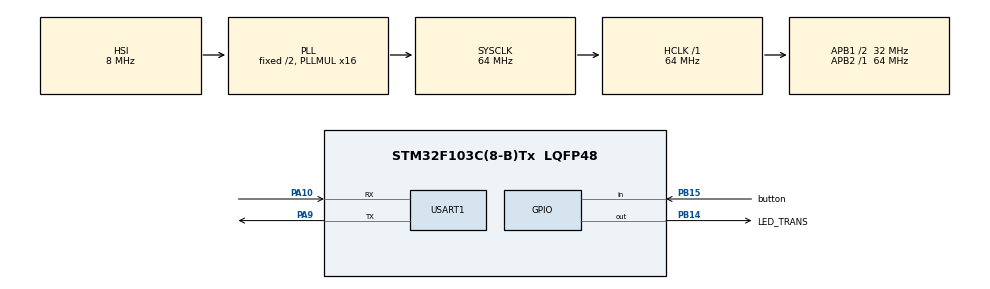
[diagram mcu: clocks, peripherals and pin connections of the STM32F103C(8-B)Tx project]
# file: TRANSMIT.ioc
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Mcu.Family=STM32F1
Mcu.Name=STM32F103C(8-B)Tx
Mcu.Package=LQFP48
NVIC.PriorityGroup=NVIC_PRIORITYGROUP_4
NVIC.USART1_IRQn=true\:0\:0\:false\:false\:true\:true
PA10.Mode=Asynchronous
PA10.Signal=USART1_RX
PA13.Mode=Serial_Wire
PA13.Signal=SYS_JTMS-SWDIO
PA14.Mode=Serial_Wire
PA14.Signal=SYS_JTCK-SWCLK
PA9.Mode=Asynchronous
PA9.Signal=USART1_TX
PB14.GPIO_Label=LED_TRANS
PB14.Signal=GPIO_Output
PB15.GPIO_Label=button
PB15.GPIO_PuPd=GPIO_PULLUP
PB15.Signal=GPIO_Input
ProjectManager.HeapSize=0x200
ProjectManager.StackSize=0x400
ProjectManager.TargetToolchain=MDK-ARM V5
RCC.AHBFreq_Value=64000000
RCC.APB1CLKDivider=RCC_HCLK_DIV2
RCC.APB1Freq_Value=32000000
RCC.APB1TimFreq_Value=64000000
RCC.APB2Freq_Value=64000000
RCC.APB2TimFreq_Value=64000000
RCC.HCLKFreq_Value=64000000
RCC.PLLMUL=RCC_PLL_MUL16
RCC.SYSCLKFreq_VALUE=64000000
RCC.SYSCLKSource=RCC_SYSCLKSOURCE_PLLCLK
RCC.USBFreq_Value=64000000
USART1.VirtualMode=VM_ASYNC
board=custom

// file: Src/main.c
/**
	******************************************************************************
	* @file           : main.c
	* @brief          : Main program body
	******************************************************************************
	** This notice applies to any and all portions of this file
	* that are not between comment pairs USER CODE BEGIN and
	* USER CODE END. Other portions of this file, whether
	* inserted by the user or by software development tools
	* are owned by their respective copyright owners.
	*
	* COPYRIGHT(c) 2018 STMicroelectronics
	*
	* Redistribution and use in source and binary forms, with or without modification,
	* are permitted provided that the following conditions are met:
	*   1. Redistributions of source code must retain the above copyright notice,
	*      this list of conditions and the following disclaimer.
	*   2. Redistributions in binary form must reproduce the above copyright notice,
	*      this list of conditions and the following disclaimer in the documentation
	*      and/or other materials provided with the distribution.
	*   3. Neither the name of STMicroelectronics nor the names of its contributors
	*      may be used to endorse or promote products derived from this software
	*      without specific prior written permission.
	*
	* THIS SOFTWARE IS PROVIDED BY THE COPYRIGHT HOLDERS AND CONTRIBUTORS "AS IS"
	* AND ANY EXPRESS OR IMPLIED WARRANTIES, INCLUDING, BUT NOT LIMITED TO, THE
	* IMPLIED WARRANTIES OF MERCHANTABILITY AND FITNESS FOR A PARTICULAR PURPOSE ARE
	* DISCLAIMED. IN NO EVENT SHALL THE COPYRIGHT HOLDER OR CONTRIBUTORS BE LIABLE
	* FOR ANY DIRECT, INDIRECT, INCIDENTAL, SPECIAL, EXEMPLARY, OR CONSEQUENTIAL
	* DAMAGES (INCLUDING, BUT NOT LIMITED TO, PROCUREMENT OF SUBSTITUTE GOODS OR
	* SERVICES; LOSS OF USE, DATA, OR PROFITS; OR BUSINESS INTERRUPTION) HOWEVER
	* CAUSED AND ON ANY THEORY OF LIABILITY, WHETHER IN CONTRACT, STRICT LIABILITY,
	* OR TORT (INCLUDING NEGLIGENCE OR OTHERWISE) ARISING IN ANY WAY OUT OF THE USE
	* OF THIS SOFTWARE, EVEN IF ADVISED OF THE POSSIBILITY OF SUCH DAMAGE.
	*
	******************************************************************************
	*/
#include "main.h"
#include "stm32f1xx_hal.h"

/* USER CODE BEGIN Includes */
#include "CTR_nrf24l01.h"
#include <stdio.h>
#include <string.h>
/* USER CODE END Includes */

UART_HandleTypeDef huart1;

/* USER CODE BEGIN PV */
/* Private variables ---------------------------------------------------------*/

/* USER CODE END PV */

void SystemClock_Config(void);
static void MX_GPIO_Init(void);
static void MX_USART1_UART_Init(void);

/* USER CODE BEGIN PFP */
/* Private function prototypes -----------------------------------------------*/

/* USER CODE END PFP */

/* USER CODE BEGIN 0 */
//uint8_t CTR_SENDBUFF[32];
uint8_t chuoi[32];

uint8_t dang_truyen[32]="dang truyen\r\n";
uint8_t dang_nhan[32]="dang nhan\r\n";
uint8_t loi[32]="khong thanh cong\r\n";
uint8_t chuoi_loi[32]="chuoi loi\r\n";
uint8_t ket_thuc[32]="KET THUC\r\n";

char ok[32]="ok\r\n";
char check_1a[32]="yeu cau slave 1a doc du lieu\r\n";
char check_2a[32]="yeu cau slave 2a doc du lieu\r\n";

uint8_t check_lai_lan_cuoi[32]="check lai lan cuoi\r\n";
uint8_t test[32]="start\r\n";
uint8_t du_lieu_moi_truong[32]="25.5 oC\r\n";
int a=0;
int b=0;
int thoi_gian_check=0;
int thoi_gian_truyen=0;
/* USER CODE END 0 */

int main(void)
{

	/* MCU Configuration----------------------------------------------------------*/

	/* Reset of all peripherals, Initializes the Flash interface and the Systick. */
	HAL_Init();

	/* Configure the system clock */
	SystemClock_Config();

	/* Initialize all configured peripherals */
	MX_GPIO_Init();
	MX_USART1_UART_Init();
	/* USER CODE BEGIN 2 */
	CTR_nrfInit(); // khoi tao
	CTR_nrfSetRX();
	// them doan ma can gui vao buffer gui

	/* USER CODE END 2 */

	/* Infinite loop */
	while (1)
	{
	/* USER CODE BEGIN 3 */
		a=0;
		b=0;
		thoi_gian_check=0;
		//thoi_gian_truyen=0;
		if(CTR_nrfGetPacket(chuoi)==1)
		{
			int chuoi_check = strcmp(chuoi, check_2a);
			if(chuoi_check == 0)
			{
				HAL_UART_Transmit(&huart1,chuoi,32,5);//xem chuoi nhan duoc tren pc
				memset(chuoi,0x00,32);//xoa chuoi

				while(a==0)//doi den khi da nhan duoc chuoi ok
				{
					//truyen du lieu qua cho master
					HAL_UART_Transmit(&huart1,dang_truyen,32,5);
					CTR_nrfSetTX();
					CTR_nrfSendPacket(du_lieu_moi_truong);
					//cho phan hoi ok tu master
					HAL_Delay(500);
					while(b==0)
					{
						thoi_gian_check+=1;
						HAL_UART_Transmit(&huart1,check_lai_lan_cuoi,32,5);
						memset(chuoi,0x00,32);//xoa chuoi
						CTR_nrfSetRX();
						if(CTR_nrfGetPacket(chuoi)==1)
						{
							int chuoi_ok = strcmp(chuoi, ok);
							if(chuoi_ok == 0)
							{
								HAL_UART_Transmit(&huart1,chuoi,32,5);
								thoi_gian_check=4;
								a=1;//thoat ca vong
								b=1;//thoat che do check lai lan cuoi
								HAL_UART_Transmit(&huart1,ket_thuc,32,5);
							}
							else
							{
								HAL_UART_Transmit(&huart1,chuoi,32,5);
								HAL_UART_Transmit(&huart1,chuoi_loi,32,5);
								thoi_gian_check=6;
							}
							memset(chuoi,0x00,32);//xoa chuoi
						}
						if(thoi_gian_check>5)
						{
							a=1;//thoat ca vong
							b=1;
							HAL_UART_Transmit(&huart1,loi,32,5);
						}
					}
				}
			}
			memset(chuoi,0x00,32);//xoa chuoi
		}
		CTR_nrfSetRX();
	}
	/* USER CODE END 3 */

}

void SystemClock_Config(void)
{

	RCC_OscInitTypeDef RCC_OscInitStruct;
	RCC_ClkInitTypeDef RCC_ClkInitStruct;

		/**Initializes the CPU, AHB and APB busses clocks
		*/
	RCC_OscInitStruct.OscillatorType = RCC_OSCILLATORTYPE_HSI;
	RCC_OscInitStruct.HSIState = RCC_HSI_ON;
	RCC_OscInitStruct.HSICalibrationValue = 16;
	RCC_OscInitStruct.PLL.PLLState = RCC_PLL_ON;
	RCC_OscInitStruct.PLL.PLLSource = RCC_PLLSOURCE_HSI_DIV2;
	RCC_OscInitStruct.PLL.PLLMUL = RCC_PLL_MUL16;
	if (HAL_RCC_OscConfig(&RCC_OscInitStruct) != HAL_OK)
	{
		_Error_Handler(__FILE__, __LINE__);
	}

		/**Initializes the CPU, AHB and APB busses clocks
		*/
	RCC_ClkInitStruct.ClockType = RCC_CLOCKTYPE_HCLK|RCC_CLOCKTYPE_SYSCLK
															|RCC_CLOCKTYPE_PCLK1|RCC_CLOCKTYPE_PCLK2;
	RCC_ClkInitStruct.SYSCLKSource = RCC_SYSCLKSOURCE_PLLCLK;
	RCC_ClkInitStruct.AHBCLKDivider = RCC_SYSCLK_DIV1;
	RCC_ClkInitStruct.APB1CLKDivider = RCC_HCLK_DIV2;
	RCC_ClkInitStruct.APB2CLKDivider = RCC_HCLK_DIV1;

	if (HAL_RCC_ClockConfig(&RCC_ClkInitStruct, FLASH_LATENCY_2) != HAL_OK)
	{
		_Error_Handler(__FILE__, __LINE__);
	}

		/**Configure the Systick interrupt time
		*/
	HAL_SYSTICK_Config(HAL_RCC_GetHCLKFreq()/1000);

		/**Configure the Systick
		*/
	HAL_SYSTICK_CLKSourceConfig(SYSTICK_CLKSOURCE_HCLK);

	/* SysTick_IRQn interrupt configuration */
	HAL_NVIC_SetPriority(SysTick_IRQn, 0, 0);
}

/* USART1 init function */
static void MX_USART1_UART_Init(void)
{

	huart1.Instance = USART1;
	huart1.Init.BaudRate = 115200;
	huart1.Init.WordLength = UART_WORDLENGTH_8B;
	huart1.Init.StopBits = UART_STOPBITS_1;
	huart1.Init.Parity = UART_PARITY_NONE;
	huart1.Init.Mode = UART_MODE_TX_RX;
	huart1.Init.HwFlowCtl = UART_HWCONTROL_NONE;
	huart1.Init.OverSampling = UART_OVERSAMPLING_16;
	if (HAL_UART_Init(&huart1) != HAL_OK)
	{
		_Error_Handler(__FILE__, __LINE__);
	}

}

/** Configure pins as
				* Analog
				* Input
				* Output
				* EVENT_OUT
				* EXTI
*/
static void MX_GPIO_Init(void)
{

	GPIO_InitTypeDef GPIO_InitStruct;

	/* GPIO Ports Clock Enable */
	__HAL_RCC_GPIOB_CLK_ENABLE();
	__HAL_RCC_GPIOA_CLK_ENABLE();

	/*Configure GPIO pin Output Level */
	HAL_GPIO_WritePin(LED_TRANS_GPIO_Port, LED_TRANS_Pin, GPIO_PIN_RESET);

	/*Configure GPIO pin : LED_TRANS_Pin */
	GPIO_InitStruct.Pin = LED_TRANS_Pin;
	GPIO_InitStruct.Mode = GPIO_MODE_OUTPUT_PP;
	GPIO_InitStruct.Pull = GPIO_NOPULL;
	GPIO_InitStruct.Speed = GPIO_SPEED_FREQ_LOW;
	HAL_GPIO_Init(LED_TRANS_GPIO_Port, &GPIO_InitStruct);

	/*Configure GPIO pin : button_Pin */
	GPIO_InitStruct.Pin = button_Pin;
	GPIO_InitStruct.Mode = GPIO_MODE_INPUT;
	GPIO_InitStruct.Pull = GPIO_PULLUP;
	HAL_GPIO_Init(button_GPIO_Port, &GPIO_InitStruct);
	/*configure NRF24L01*/
	CTR_nrfPinConfig();
}

void _Error_Handler(char *file, int line)
{
	while(1)
	{
	}
}

/************************ (C) COPYRIGHT STMicroelectronics *****END OF FILE****/
